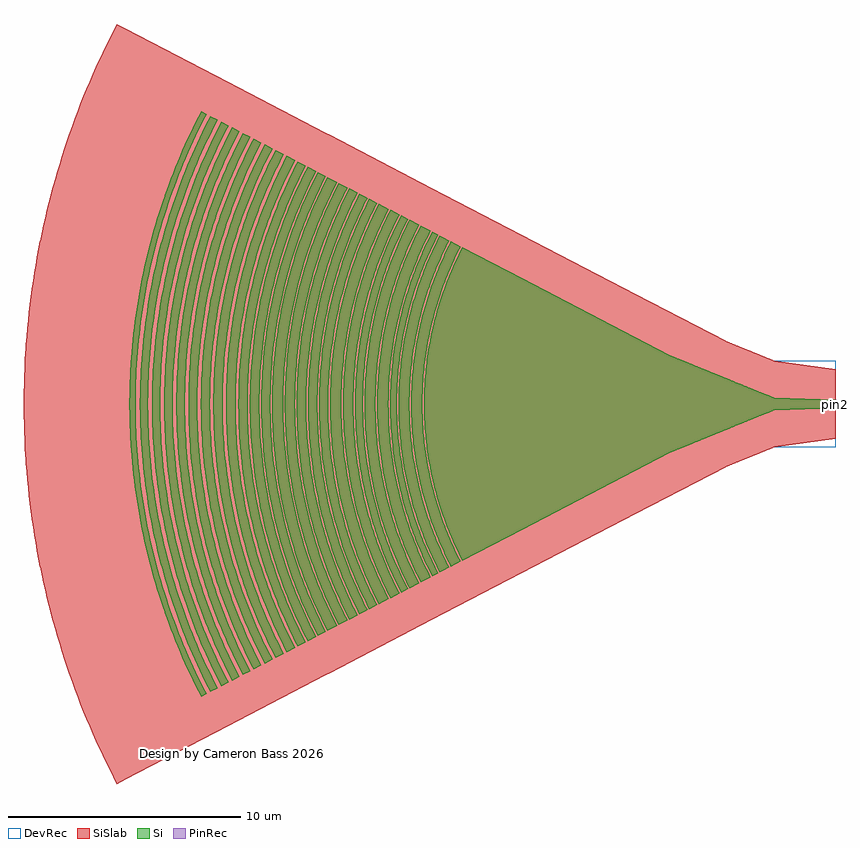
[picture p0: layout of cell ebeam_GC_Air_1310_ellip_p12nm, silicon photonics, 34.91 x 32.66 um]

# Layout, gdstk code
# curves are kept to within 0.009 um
import gdstk
lib = gdstk.Library(unit=1e-6, precision=1e-09)
def P(c, l, *ps):  # polygons
    for p in ps: c.add(gdstk.Polygon(p, *l))
Si = (1, 0)
PinRec = (1, 10)
SiSlab = (2, 0)
DevRec = (68, 0)

ebeam_gc_air_1310_ellip_ = lib.new_cell('ebeam_GC_Air_1310_ellip_p12nm')
P(ebeam_gc_air_1310_ellip_, Si, [(-16.053,-6.732),(-16.421,-5.974),(-16.795,-5.057),(-17.107,-4.117),(-17.29,-3.434),(-17.466,-2.603),(-17.593,-1.764),(-17.671,-0.919),(-17.699,-0.071),(-17.671,0.919),(-17.593,1.764),(-17.466,2.604),(-17.29,3.434),(-17.107,4.117),(-16.795,5.057),(-16.421,5.974),(-16.053,6.732),(-7.073,2.062),(-3.18,0.475),(-2.872,0.361),(-2.674,0.268),(0,0.175),(0,-0.175),(-2.673,-0.268),(-2.841,-0.348),(-3.181,-0.475),(-7.118,-2.081)],
  [(-16.545,-6.987),(-16.924,-6.204),(-17.261,-5.389),(-17.55,-4.557),(-17.791,-3.709),(-17.982,-2.848),(-18.122,-1.978),(-18.221,-0.955),(-18.251,-0.073),(-18.23,0.808),(-18.14,1.832),(-18.009,2.704),(-17.826,3.566),(-17.594,4.416),(-17.261,5.389),(-16.924,6.204),(-16.545,6.988),(-16.121,6.767),(-16.49,6.005),(-16.817,5.217),(-17.097,4.411),(-17.329,3.59),(-17.54,2.618),(-17.668,1.773),(-17.755,0.782),(-17.775,0.071),(-17.755,-0.782),(-17.668,-1.773),(-17.54,-2.617),(-17.363,-3.452),(-17.139,-4.276),(-16.867,-5.084),(-16.49,-6.005),(-16.121,-6.767)],
  [(-17.026,-7.238),(-17.418,-6.428),(-17.767,-5.584),(-18.066,-4.722),(-18.316,-3.843),(-18.513,-2.951),(-18.658,-2.05),(-18.751,-1.141),(-18.778,-0.685),(-18.792,-0.076),(-18.77,0.837),(-18.695,1.747),(-18.638,2.201),(-18.541,2.801),(-18.352,3.695),(-18.198,4.284),(-18.066,4.722),(-17.767,5.584),(-17.418,6.428),(-17.026,7.238),(-16.612,7.023),(-16.87,6.504),(-17.053,6.1),(-17.384,5.279),(-17.667,4.439),(-17.9,3.584),(-18.083,2.718),(-18.216,1.841),(-18.297,0.959),(-18.327,0.074),(-18.306,-0.811),(-18.216,-1.841),(-18.083,-2.718),(-17.9,-3.584),(-17.667,-4.439),(-17.384,-5.279),(-17.053,-6.1),(-16.87,-6.504),(-16.612,-7.023)],
  [(-17.346,-7.405),(-17.747,-6.576),(-18.104,-5.713),(-18.41,-4.831),(-18.666,-3.932),(-18.868,-3.019),(-18.949,-2.559),(-19.036,-1.942),(-19.122,-1.012),(-19.153,-0.078),(-19.131,0.857),(-19.036,1.942),(-18.896,2.866),(-18.703,3.781),(-18.502,4.532),(-18.159,5.567),(-17.932,6.148),(-17.747,6.577),(-17.346,7.405),(-17.094,7.273),(-17.549,6.319),(-17.783,5.755),(-17.944,5.325),(-18.185,4.599),(-18.311,4.158),(-18.558,3.116),(-18.691,2.362),(-18.787,1.604),(-18.846,0.841),(-18.868,0.077),(-18.853,-0.689),(-18.802,-1.451),(-18.691,-2.362),(-18.558,-3.116),(-18.461,-3.564),(-18.311,-4.157),(-18.185,-4.599),(-17.995,-5.18),(-17.783,-5.754),(-17.549,-6.319),(-17.094,-7.273)],
  [(-17.842,-7.663),(-18.052,-7.244),(-18.321,-6.659),(-18.682,-5.762),(-18.99,-4.846),(-19.245,-3.913),(-19.445,-2.966),(-19.589,-2.01),(-19.678,-1.047),(-19.711,-0.08),(-19.687,0.887),(-19.608,1.85),(-19.473,2.808),(-19.352,3.441),(-19.245,3.913),(-18.99,4.846),(-18.682,5.762),(-18.447,6.363),(-18.256,6.807),(-17.842,7.663),(-17.414,7.44),(-17.816,6.608),(-18.175,5.741),(-18.484,4.853),(-18.739,3.951),(-18.971,2.88),(-19.111,1.951),(-19.175,1.329),(-19.207,0.86),(-19.229,0.078),(-19.207,-0.86),(-19.175,-1.329),(-19.111,-1.951),(-18.971,-2.88),(-18.776,-3.798),(-18.53,-4.705),(-18.23,-5.594),(-17.88,-6.465),(-17.414,-7.44)],
  [(-18.322,-7.913),(-18.75,-7.028),(-18.947,-6.57),(-19.189,-5.95),(-19.508,-5.004),(-19.771,-4.04),(-19.977,-3.063),(-20.127,-2.075),(-20.218,-1.082),(-20.252,-0.083),(-20.228,0.916),(-20.146,1.91),(-20.034,2.735),(-19.947,3.227),(-19.81,3.879),(-19.556,4.844),(-19.408,5.321),(-19.189,5.95),(-18.947,6.57),(-18.75,7.029),(-18.322,7.913),(-17.911,7.699),(-18.327,6.838),(-18.519,6.392),(-18.755,5.789),(-19.065,4.868),(-19.32,3.931),(-19.521,2.98),(-19.666,2.02),(-19.756,1.052),(-19.789,0.081),(-19.765,-0.89),(-19.685,-1.859),(-19.601,-2.501),(-19.521,-2.98),(-19.32,-3.93),(-19.065,-4.868),(-18.755,-5.789),(-18.58,-6.242),(-18.327,-6.838),(-17.911,-7.699)],
  [(-18.684,-8.101),(-19.122,-7.195),(-19.513,-6.25),(-19.848,-5.285),(-20.041,-4.631),(-20.168,-4.136),(-20.379,-3.136),(-20.532,-2.124),(-20.626,-1.107),(-20.66,-0.085),(-20.636,0.937),(-20.552,1.956),(-20.409,2.968),(-20.281,3.637),(-20.168,4.136),(-20.041,4.631),(-19.848,5.285),(-19.513,6.25),(-19.122,7.195),(-18.684,8.101),(-18.39,7.949),(-18.68,7.364),(-18.954,6.753),(-19.143,6.29),(-19.375,5.662),(-19.533,5.185),(-19.72,4.544),(-19.884,3.895),(-19.99,3.406),(-20.135,2.582),(-20.24,1.753),(-20.305,0.919),(-20.329,0.084),(-20.305,-0.919),(-20.24,-1.753),(-20.135,-2.582),(-19.99,-3.406),(-19.884,-3.895),(-19.72,-4.544),(-19.533,-5.185),(-19.375,-5.662),(-19.143,-6.289),(-18.954,-6.753),(-18.68,-7.364),(-18.39,-7.948)],
  [(-19.142,-8.34),(-19.593,-7.408),(-19.868,-6.761),(-20.057,-6.271),(-20.392,-5.273),(-20.67,-4.258),(-20.887,-3.228),(-21.045,-2.187),(-21.141,-1.14),(-21.177,-0.088),(-21.167,0.614),(-21.141,1.14),(-21.045,2.187),(-20.887,3.228),(-20.67,4.258),(-20.392,5.273),(-20.057,6.271),(-19.664,7.248),(-19.371,7.885),(-19.142,8.34),(-18.753,8.137),(-19.193,7.227),(-19.461,6.596),(-19.645,6.118),(-19.973,5.144),(-20.243,4.154),(-20.455,3.15),(-20.609,2.134),(-20.703,1.112),(-20.738,0.086),(-20.713,-0.941),(-20.629,-1.965),(-20.485,-2.981),(-20.391,-3.486),(-20.243,-4.154),(-19.973,-5.144),(-19.645,-6.118),(-19.262,-7.07),(-19.05,-7.538),(-18.753,-8.137)],
  [(-19.641,-8.6),(-20.104,-7.641),(-20.519,-6.638),(-20.874,-5.613),(-21.171,-4.568),(-21.405,-3.508),(-21.578,-2.437),(-21.688,-1.356),(-21.719,-0.815),(-21.737,-0.09),(-21.711,0.995),(-21.621,2.077),(-21.47,3.152),(-21.334,3.862),(-21.214,4.393),(-20.928,5.439),(-20.704,6.128),(-20.519,6.638),(-20.104,7.641),(-19.641,8.6),(-19.211,8.376),(-19.663,7.439),(-20.068,6.463),(-20.248,5.966),(-20.467,5.297),(-20.702,4.447),(-20.93,3.416),(-21.099,2.372),(-21.177,1.672),(-21.218,1.144),(-21.254,0.088),(-21.249,-0.441),(-21.218,-1.144),(-21.121,-2.197),(-20.963,-3.242),(-20.744,-4.276),(-20.467,-5.296),(-20.248,-5.966),(-20.068,-6.463),(-19.663,-7.439),(-19.211,-8.376)],
  [(-20.056,-8.816),(-20.532,-7.831),(-20.957,-6.803),(-21.322,-5.752),(-21.626,-4.681),(-21.866,-3.595),(-22.043,-2.497),(-22.156,-1.39),(-22.188,-0.835),(-22.206,-0.093),(-22.179,1.02),(-22.088,2.128),(-22.018,2.681),(-21.9,3.413),(-21.67,4.502),(-21.482,5.219),(-21.322,5.752),(-20.957,6.803),(-20.532,7.831),(-20.056,8.816),(-19.713,8.637),(-20.178,7.673),(-20.595,6.666),(-20.953,5.636),(-21.249,4.587),(-21.485,3.523),(-21.579,2.986),(-21.681,2.266),(-21.781,1.18),(-21.818,0.091),(-21.808,-0.635),(-21.739,-1.724),(-21.634,-2.626),(-21.45,-3.701),(-21.334,-4.233),(-21.157,-4.939),(-20.953,-5.635),(-20.721,-6.325),(-20.53,-6.835),(-20.252,-7.506),(-19.948,-8.167),(-19.713,-8.637)],
  [(-20.476,-9.035),(-20.965,-8.024),(-21.401,-6.97),(-21.774,-5.894),(-21.939,-5.347),(-22.086,-4.797),(-22.257,-4.057),(-22.367,-3.497),(-22.537,-2.37),(-22.642,-1.235),(-22.681,-0.095),(-22.653,1.045),(-22.559,2.181),(-22.4,3.31),(-22.296,3.87),(-22.131,4.613),(-21.939,5.347),(-21.774,5.894),(-21.401,6.97),(-20.965,8.024),(-20.476,9.035),(-20.125,8.852),(-20.603,7.862),(-21.03,6.831),(-21.396,5.775),(-21.605,5.061),(-21.745,4.519),(-21.976,3.427),(-22.143,2.322),(-22.245,1.209),(-22.283,0.093),(-22.265,-0.837),(-22.202,-1.767),(-22.094,-2.691),(-21.906,-3.793),(-21.788,-4.338),(-21.605,-5.061),(-21.451,-5.598),(-21.221,-6.305),(-20.963,-7.004),(-20.752,-7.521),(-20.447,-8.201),(-20.125,-8.852)],
  [(-20.911,-9.261),(-21.413,-8.222),(-21.859,-7.143),(-22.242,-6.04),(-22.411,-5.48),(-22.562,-4.916),(-22.696,-4.347),(-22.85,-3.583),(-23.025,-2.428),(-23.132,-1.265),(-23.171,-0.097),(-23.166,0.487),(-23.132,1.265),(-23.025,2.428),(-22.85,3.584),(-22.608,4.727),(-22.357,5.667),(-22.122,6.41),(-21.928,6.961),(-21.492,8.045),(-21.166,8.752),(-20.911,9.261),(-20.549,9.072),(-20.881,8.402),(-21.117,7.881),(-21.545,6.819),(-21.91,5.734),(-22.211,4.63),(-22.448,3.511),(-22.619,2.379),(-22.724,1.239),(-22.763,0.096),(-22.744,-0.858),(-22.68,-1.81),(-22.569,-2.757),(-22.376,-3.886),(-22.211,-4.63),(-22.068,-5.185),(-21.91,-5.735),(-21.674,-6.46),(-21.478,-6.998),(-21.193,-7.705),(-20.881,-8.402),(-20.549,-9.072)],
  [(-21.362,-9.496),(-21.71,-8.795),(-21.957,-8.249),(-22.404,-7.138),(-22.786,-6.003),(-22.953,-5.427),(-23.102,-4.847),(-23.35,-3.675),(-23.529,-2.491),(-23.639,-1.297),(-23.679,-0.1),(-23.674,0.499),(-23.639,1.298),(-23.529,2.49),(-23.35,3.675),(-23.102,4.847),(-22.953,5.427),(-22.786,6.002),(-22.404,7.138),(-22.189,7.697),(-21.957,8.25),(-21.71,8.795),(-21.362,9.496),(-20.979,9.296),(-21.483,8.254),(-21.932,7.171),(-22.317,6.062),(-22.484,5.501),(-22.682,4.744),(-22.925,3.597),(-23.101,2.437),(-23.208,1.27),(-23.237,0.685),(-23.248,0.098),(-23.243,-0.489),(-23.22,-1.074),(-23.163,-1.855),(-23.101,-2.437),(-22.925,-3.597),(-22.682,-4.744),(-22.484,-5.501),(-22.317,-6.062),(-21.932,-7.17),(-21.483,-8.254),(-20.979,-9.296)],
  [(-21.85,-9.749),(-22.117,-9.217),(-22.376,-8.659),(-22.62,-8.095),(-22.846,-7.522),(-23.25,-6.361),(-23.427,-5.771),(-23.586,-5.177),(-23.771,-4.377),(-23.889,-3.774),(-23.99,-3.167),(-24.073,-2.557),(-24.186,-1.332),(-24.216,-0.717),(-24.227,-0.102),(-24.198,1.128),(-24.097,2.354),(-23.99,3.167),(-23.889,3.774),(-23.771,4.377),(-23.635,4.978),(-23.37,5.968),(-23.123,6.751),(-22.918,7.331),(-22.62,8.095),(-22.376,8.66),(-21.85,9.75),(-21.43,9.531),(-21.946,8.463),(-22.406,7.353),(-22.801,6.216),(-23.128,5.06),(-23.267,4.474),(-23.388,3.886),(-23.58,2.698),(-23.702,1.502),(-23.737,0.901),(-23.756,0.1),(-23.727,-1.102),(-23.669,-1.902),(-23.605,-2.5),(-23.425,-3.689),(-23.176,-4.865),(-22.86,-6.026),(-22.477,-7.165),(-22.027,-8.28),(-21.779,-8.828),(-21.43,-9.531)],
  [(-22.264,-9.965),(-22.537,-9.42),(-22.802,-8.85),(-23.051,-8.273),(-23.283,-7.688),(-23.695,-6.501),(-23.876,-5.898),(-24.089,-5.088),(-24.348,-3.857),(-24.451,-3.237),(-24.536,-2.613),(-24.603,-1.988),(-24.652,-1.362),(-24.694,-0.105),(-24.664,1.153),(-24.561,2.405),(-24.482,3.03),(-24.385,3.651),(-24.27,4.269),(-24.089,5.088),(-23.876,5.898),(-23.695,6.501),(-23.283,7.688),(-23.051,8.274),(-22.802,8.851),(-22.264,9.965),(-21.918,9.785),(-22.274,9.065),(-22.529,8.503),(-22.844,7.743),(-23.061,7.164),(-23.261,6.58),(-23.499,5.793),(-23.659,5.196),(-23.845,4.393),(-23.964,3.788),(-24.065,3.178),(-24.194,2.158),(-24.274,1.131),(-24.304,0.103),(-24.284,-0.926),(-24.214,-1.953),(-24.095,-2.975),(-23.886,-4.192),(-23.756,-4.795),(-23.554,-5.594),(-23.323,-6.383),(-23.061,-7.164),(-22.844,-7.742),(-22.529,-8.502),(-22.274,-9.065),(-21.918,-9.785)],
  [(-22.698,-10.191),(-22.979,-9.632),(-23.25,-9.049),(-23.505,-8.459),(-23.742,-7.861),(-23.961,-7.257),(-24.163,-6.647),(-24.406,-5.824),(-24.566,-5.202),(-24.708,-4.574),(-24.831,-3.944),(-24.937,-3.31),(-25.024,-2.673),(-25.092,-2.033),(-25.142,-1.392),(-25.173,-0.75),(-25.185,-0.107),(-25.179,0.536),(-25.154,1.179),(-25.111,1.82),(-25.049,2.459),(-24.968,3.098),(-24.869,3.733),(-24.708,4.574),(-24.566,5.202),(-24.289,6.237),(-24.098,6.851),(-23.817,7.661),(-23.586,8.26),(-23.337,8.854),(-22.979,9.632),(-22.698,10.191),(-22.335,10.002),(-22.7,9.265),(-22.961,8.69),(-23.283,7.913),(-23.504,7.322),(-23.895,6.123),(-24.116,5.31),(-24.306,4.49),(-24.498,3.457),(-24.641,2.415),(-24.732,1.366),(-24.763,0.737),(-24.775,0.105),(-24.755,-0.946),(-24.718,-1.576),(-24.663,-2.205),(-24.531,-3.248),(-24.348,-4.285),(-24.215,-4.901),(-24.009,-5.717),(-23.773,-6.524),(-23.504,-7.322),(-23.283,-7.913),(-22.961,-8.69),(-22.7,-9.265),(-22.335,-10.002)],
  [(-23.13,-10.416),(-23.42,-9.839),(-23.697,-9.244),(-23.957,-8.641),(-24.2,-8.03),(-24.424,-7.413),(-24.631,-6.79),(-24.82,-6.16),(-24.99,-5.526),(-25.141,-4.888),(-25.274,-4.244),(-25.388,-3.597),(-25.483,-2.948),(-25.559,-2.295),(-25.631,-1.422),(-25.663,-0.766),(-25.675,-0.109),(-25.669,0.547),(-25.644,1.204),(-25.599,1.859),(-25.536,2.512),(-25.453,3.165),(-25.314,4.029),(-25.187,4.673),(-25.042,5.314),(-24.759,6.371),(-24.564,6.999),(-24.277,7.826),(-24.04,8.439),(-23.786,9.044),(-23.515,9.642),(-23.13,10.416),(-22.783,10.236),(-23.158,9.477),(-23.511,8.692),(-23.755,8.095),(-23.981,7.49),(-24.256,6.674),(-24.44,6.056),(-24.659,5.223),(-24.802,4.593),(-24.999,3.536),(-25.092,2.897),(-25.167,2.256),(-25.25,1.183),(-25.282,0.108),(-25.261,-0.968),(-25.188,-2.042),(-25.119,-2.684),(-25.032,-3.323),(-24.845,-4.383),(-24.659,-5.223),(-24.498,-5.848),(-24.32,-6.469),(-24.053,-7.287),(-23.755,-8.095),(-23.511,-8.691),(-23.158,-9.477),(-22.783,-10.235)],
  [(-23.599,-10.661),(-23.899,-10.064),(-24.183,-9.456),(-24.449,-8.839),(-24.697,-8.214),(-24.927,-7.583),(-25.138,-6.946),(-25.332,-6.301),(-25.506,-5.653),(-25.661,-4.999),(-25.837,-4.121),(-25.948,-3.458),(-26.039,-2.792),(-26.11,-2.124),(-26.162,-1.455),(-26.195,-0.783),(-26.208,-0.112),(-26.201,0.56),(-26.175,1.232),(-26.13,1.902),(-26.065,2.57),(-25.98,3.237),(-25.876,3.901),(-25.708,4.78),(-25.559,5.436),(-25.27,6.517),(-25.07,7.159),(-24.776,8.005),(-24.534,8.631),(-24.274,9.251),(-23.996,9.863),(-23.599,10.661),(-23.241,10.474),(-23.533,9.892),(-23.901,9.092),(-24.157,8.483),(-24.47,7.661),(-24.684,7.036),(-24.88,6.406),(-25.111,5.556),(-25.31,4.698),(-25.512,3.616),(-25.661,2.526),(-25.724,1.869),(-25.769,1.21),(-25.801,0.11),(-25.78,-0.99),(-25.742,-1.649),(-25.684,-2.307),(-25.546,-3.399),(-25.354,-4.483),(-25.215,-5.128),(-24.999,-5.982),(-24.817,-6.615),(-24.544,-7.453),(-24.318,-8.074),(-23.989,-8.89),(-23.628,-9.693),(-23.241,-10.474)],
  [(-24.082,-10.912),(-24.392,-10.296),(-24.682,-9.673),(-24.955,-9.042),(-25.209,-8.403),(-25.444,-7.758),(-25.728,-6.887),(-25.92,-6.226),(-26.091,-5.561),(-26.243,-4.891),(-26.376,-4.216),(-26.489,-3.538),(-26.582,-2.856),(-26.655,-2.173),(-26.708,-1.488),(-26.742,-0.801),(-26.755,-0.114),(-26.748,0.573),(-26.722,1.26),(-26.675,1.945),(-26.582,2.857),(-26.489,3.538),(-26.376,4.216),(-26.243,4.89),(-26.091,5.561),(-25.92,6.226),(-25.66,7.106),(-25.444,7.758),(-25.209,8.403),(-24.955,9.043),(-24.682,9.673),(-24.392,10.296),(-24.082,10.912),(-23.729,10.728),(-24.031,10.126),(-24.408,9.307),(-24.754,8.475),(-24.991,7.842),(-25.21,7.202),(-25.411,6.557),(-25.647,5.687),(-25.851,4.809),(-26.058,3.702),(-26.211,2.586),(-26.309,1.463),(-26.342,0.789),(-26.355,0.113),(-26.333,-1.014),(-26.235,-2.362),(-26.093,-3.479),(-25.897,-4.589),(-25.754,-5.249),(-25.533,-6.123),(-25.279,-6.987),(-24.991,-7.842),(-24.754,-8.475),(-24.408,-9.307),(-24.031,-10.126),(-23.729,-10.728)],
  [(-24.552,-11.157),(-24.871,-10.524),(-25.168,-9.887),(-25.447,-9.242),(-25.706,-8.589),(-25.947,-7.929),(-26.168,-7.263),(-26.433,-6.364),(-26.609,-5.684),(-26.764,-4.999),(-26.9,-4.309),(-27.015,-3.616),(-27.11,-2.92),(-27.185,-2.221),(-27.24,-1.521),(-27.274,-0.819),(-27.287,-0.117),(-27.274,0.819),(-27.24,1.522),(-27.185,2.222),(-27.11,2.92),(-27.015,3.616),(-26.9,4.309),(-26.764,4.998),(-26.609,5.684),(-26.433,6.364),(-26.168,7.263),(-25.947,7.929),(-25.706,8.589),(-25.447,9.243),(-25.168,9.887),(-24.871,10.524),(-24.552,11.157),(-24.21,10.979),(-24.622,10.15),(-24.909,9.52),(-25.262,8.669),(-25.505,8.021),(-25.8,7.147),(-25.997,6.486),(-26.177,5.817),(-26.385,4.919),(-26.597,3.787),(-26.753,2.645),(-26.854,1.497),(-26.887,0.807),(-26.9,0.115),(-26.894,-0.576),(-26.867,-1.267),(-26.777,-2.416),(-26.697,-3.102),(-26.597,-3.787),(-26.385,-4.92),(-26.177,-5.817),(-25.997,-6.485),(-25.8,-7.147),(-25.505,-8.021),(-25.262,-8.669),(-24.909,-9.52),(-24.622,-10.15),(-24.21,-10.979)],
  [(-25.025,-11.403),(-25.352,-10.754),(-25.656,-10.104),(-25.94,-9.445),(-26.206,-8.777),(-26.451,-8.103),(-26.677,-7.422),(-26.885,-6.733),(-27.071,-6.04),(-27.236,-5.342),(-27.382,-4.638),(-27.506,-3.932),(-27.611,-3.222),(-27.694,-2.508),(-27.757,-1.793),(-27.808,-0.837),(-27.822,-0.12),(-27.815,0.598),(-27.787,1.316),(-27.738,2.032),(-27.669,2.746),(-27.578,3.459),(-27.426,4.403),(-27.287,5.108),(-27.128,5.808),(-26.949,6.503),(-26.748,7.194),(-26.529,7.877),(-26.206,8.777),(-25.94,9.445),(-25.656,10.104),(-25.352,10.754),(-25.025,11.403),(-24.69,11.229),(-25.011,10.591),(-25.406,9.734),(-25.767,8.864),(-26.016,8.202),(-26.245,7.533),(-26.455,6.858),(-26.703,5.948),(-26.916,5.03),(-27.132,3.872),(-27.292,2.705),(-27.361,2.001),(-27.409,1.295),(-27.443,0.118),(-27.436,-0.589),(-27.409,-1.295),(-27.317,-2.47),(-27.169,-3.639),(-27.053,-4.337),(-26.916,-5.031),(-26.703,-5.948),(-26.455,-6.858),(-26.245,-7.533),(-26.016,-8.202),(-25.68,-9.083),(-25.406,-9.734),(-25.011,-10.591),(-24.69,-11.228)],
  [(-25.487,-11.643),(-25.821,-10.98),(-26.131,-10.316),(-26.421,-9.643),(-26.692,-8.961),(-26.943,-8.273),(-27.174,-7.578),(-27.386,-6.875),(-27.576,-6.167),(-27.797,-5.215),(-27.938,-4.496),(-28.059,-3.773),(-28.158,-3.046),(-28.236,-2.318),(-28.293,-1.587),(-28.328,-0.855),(-28.343,-0.122),(-28.328,0.855),(-28.293,1.587),(-28.236,2.318),(-28.158,3.046),(-28.059,3.773),(-27.938,4.496),(-27.797,5.215),(-27.634,5.93),(-27.451,6.64),(-27.247,7.344),(-27.023,8.042),(-26.692,8.962),(-26.421,9.643),(-26.131,10.316),(-25.821,10.98),(-25.487,11.643),(-25.164,11.475),(-25.597,10.605),(-25.896,9.947),(-26.266,9.058),(-26.52,8.381),(-26.828,7.468),(-27.034,6.777),(-27.28,5.845),(-27.44,5.14),(-27.661,3.957),(-27.766,3.241),(-27.85,2.525),(-27.943,1.324),(-27.978,0.121),(-27.955,-1.083),(-27.913,-1.804),(-27.85,-2.524),(-27.766,-3.241),(-27.661,-3.956),(-27.44,-5.14),(-27.222,-6.078),(-27.034,-6.776),(-26.828,-7.468),(-26.52,-8.381),(-26.266,-9.058),(-25.896,-9.947),(-25.597,-10.605),(-25.164,-11.475)],
  [(-25.952,-11.885),(-26.293,-11.208),(-26.61,-10.53),(-26.906,-9.844),(-27.183,-9.148),(-27.439,-8.445),(-27.675,-7.735),(-27.891,-7.018),(-28.085,-6.295),(-28.31,-5.324),(-28.455,-4.589),(-28.577,-3.851),(-28.679,-3.109),(-28.759,-2.366),(-28.817,-1.62),(-28.853,-0.872),(-28.867,-0.125),(-28.853,0.872),(-28.817,1.62),(-28.759,2.366),(-28.679,3.11),(-28.577,3.852),(-28.455,4.589),(-28.31,5.323),(-28.144,6.053),(-27.958,6.778),(-27.749,7.496),(-27.52,8.209),(-27.271,8.914),(-27.001,9.612),(-26.61,10.53),(-26.293,11.208),(-25.952,11.886),(-25.634,11.72),(-25.97,11.053),(-26.382,10.159),(-26.759,9.25),(-27.019,8.559),(-27.258,7.861),(-27.545,6.921),(-27.736,6.208),(-27.959,5.249),(-28.184,4.041),(-28.351,2.823),(-28.423,2.088),(-28.473,1.352),(-28.509,0.123),(-28.501,-0.615),(-28.473,-1.352),(-28.377,-2.578),(-28.291,-3.31),(-28.184,-4.04),(-27.959,-5.249),(-27.795,-5.969),(-27.545,-6.92),(-27.258,-7.861),(-27.019,-8.559),(-26.668,-9.479),(-26.382,-10.158),(-25.97,-11.052),(-25.634,-11.72)],
  [(-26.411,-12.124),(-26.759,-11.433),(-27.082,-10.742),(-27.384,-10.041),(-27.666,-9.331),(-27.928,-8.614),(-28.168,-7.89),(-28.388,-7.158),(-28.586,-6.422),(-28.816,-5.431),(-28.964,-4.681),(-29.089,-3.929),(-29.192,-3.173),(-29.274,-2.413),(-29.333,-1.653),(-29.37,-0.89),(-29.385,-0.127),(-29.377,0.636),(-29.348,1.399),(-29.296,2.16),(-29.222,2.92),(-29.126,3.677),(-28.964,4.681),(-28.816,5.43),(-28.647,6.175),(-28.457,6.914),(-28.244,7.648),(-28.01,8.374),(-27.756,9.093),(-27.481,9.806),(-27.082,10.742),(-26.759,11.433),(-26.411,12.124),(-26.103,11.964),(-26.446,11.283),(-26.765,10.6),(-27.064,9.908),(-27.431,8.974),(-27.682,8.263),(-27.985,7.306),(-28.249,6.337),(-28.423,5.604),(-28.576,4.867),(-28.707,4.125),(-28.877,2.882),(-28.987,1.631),(-29.023,0.879),(-29.038,0.126),(-29.03,-0.628),(-29.001,-1.38),(-28.904,-2.632),(-28.816,-3.379),(-28.707,-4.125),(-28.476,-5.359),(-28.249,-6.337),(-28.054,-7.064),(-27.838,-7.785),(-27.517,-8.737),(-27.252,-9.443),(-26.867,-10.37),(-26.555,-11.056),(-26.103,-11.964)],
  [(-26.881,-12.369),(-27.228,-11.678),(-27.558,-10.972),(-27.867,-10.257),(-28.246,-9.288),(-28.505,-8.554),(-28.743,-7.811),(-28.96,-7.062),(-29.155,-6.307),(-29.327,-5.546),(-29.477,-4.782),(-29.605,-4.013),(-29.711,-3.24),(-29.793,-2.465),(-29.854,-1.688),(-29.892,-0.909),(-29.907,-0.13),(-29.892,0.909),(-29.854,1.688),(-29.793,2.465),(-29.711,3.24),(-29.605,4.013),(-29.477,4.782),(-29.327,5.547),(-29.155,6.307),(-28.96,7.062),(-28.743,7.811),(-28.505,8.554),(-28.246,9.289),(-27.965,10.015),(-27.663,10.735),(-27.341,11.444),(-26.881,12.37),(-26.57,12.208),(-27.031,11.281),(-27.35,10.581),(-27.743,9.635),(-28.013,8.915),(-28.262,8.188),(-28.489,7.454),(-28.696,6.714),(-28.937,5.718),(-29.185,4.461),(-29.304,3.702),(-29.401,2.94),(-29.475,2.175),(-29.527,1.408),(-29.565,0.128),(-29.54,-1.152),(-29.495,-1.919),(-29.428,-2.685),(-29.267,-3.955),(-29.14,-4.714),(-28.992,-5.467),(-28.76,-6.465),(-28.56,-7.208),(-28.341,-7.944),(-28.013,-8.915),(-27.743,-9.635),(-27.35,-10.581),(-27.031,-11.281),(-26.57,-12.207)],
  [(-27.279,-12.577),(-27.64,-11.858),(-27.975,-11.141),(-28.288,-10.415),(-28.58,-9.678),(-28.837,-8.976),(-29.1,-8.184),(-29.328,-7.425),(-29.533,-6.661),(-29.715,-5.891),(-29.875,-5.115),(-30.013,-4.335),(-30.128,-3.553),(-30.245,-2.503),(-30.301,-1.795),(-30.345,-0.923),(-30.36,-0.132),(-30.352,0.659),(-30.322,1.451),(-30.268,2.241),(-30.161,3.29),(-30.054,4.075),(-29.924,4.856),(-29.771,5.632),(-29.596,6.405),(-29.399,7.171),(-29.178,7.931),(-28.937,8.686),(-28.673,9.432),(-28.288,10.415),(-27.975,11.142),(-27.64,11.859),(-27.279,12.577),(-27.049,12.457),(-27.511,11.525),(-27.836,10.81),(-28.237,9.844),(-28.513,9.108),(-28.767,8.365),(-29,7.616),(-29.21,6.859),(-29.456,5.842),(-29.615,5.073),(-29.751,4.3),(-29.928,3.004),(-30.043,1.7),(-30.081,0.916),(-30.096,0.131),(-30.071,-1.177),(-30.025,-1.961),(-29.956,-2.743),(-29.865,-3.522),(-29.751,-4.3),(-29.615,-5.073),(-29.456,-5.841),(-29.275,-6.606),(-29.072,-7.364),(-28.847,-8.116),(-28.513,-9.108),(-28.237,-9.844),(-27.836,-10.81),(-27.511,-11.525),(-27.049,-12.457)])
P(ebeam_gc_air_1310_ellip_, SiSlab, [(-30.904,-16.329),(-31.366,-15.41),(-31.801,-14.477),(-32.208,-13.533),(-32.588,-12.577),(-32.94,-11.61),(-33.264,-10.634),(-33.559,-9.648),(-33.825,-8.655),(-34.062,-7.654),(-34.27,-6.647),(-34.449,-5.634),(-34.598,-4.616),(-34.717,-3.594),(-34.807,-2.569),(-34.867,-1.543),(-34.9,-0.171),(-34.89,0.857),(-34.85,1.885),(-34.781,2.912),(-34.681,3.935),(-34.552,4.956),(-34.393,5.972),(-34.135,7.319),(-33.907,8.322),(-33.651,9.318),(-33.365,10.307),(-33.051,11.286),(-32.709,12.256),(-32.338,13.216),(-31.94,14.164),(-31.366,15.41),(-30.904,16.329),(-4.744,2.708),(-2.65,1.855),(0,1.5),(0,-1.5),(-2.65,-1.855),(-4.728,-2.7)])
P(ebeam_gc_air_1310_ellip_, DevRec, [(-30.904,-16.329),(-31.366,-15.41),(-31.801,-14.477),(-32.208,-13.533),(-32.588,-12.577),(-32.94,-11.61),(-33.264,-10.634),(-33.559,-9.648),(-33.825,-8.655),(-34.062,-7.654),(-34.27,-6.647),(-34.449,-5.634),(-34.598,-4.616),(-34.717,-3.594),(-34.807,-2.569),(-34.867,-1.543),(-34.9,-0.171),(-34.89,0.857),(-34.85,1.885),(-34.781,2.912),(-34.681,3.935),(-34.552,4.956),(-34.393,5.972),(-34.135,7.319),(-33.907,8.322),(-33.651,9.318),(-33.365,10.307),(-33.051,11.286),(-32.709,12.256),(-32.338,13.216),(-31.94,14.164),(-31.366,15.41),(-30.904,16.329),(-4.744,2.708),(-2.65,1.855),(0,1.855),(0,-1.855),(-2.65,-1.855),(-4.728,-2.7)])
ebeam_gc_air_1310_ellip_.add(gdstk.FlexPath([(-0.01,0),(0.01,0)], 0.35, ends="flush", simple_path=True, layer=1, datatype=10))  # PinRec
ebeam_gc_air_1310_ellip_.add(gdstk.Label('pin2', (0,0), layer=1, texttype=10))
ebeam_gc_air_1310_ellip_.add(gdstk.Label('Design by Cameron Bass 2026', (-25.94,-15.02), layer=10, texttype=0))

lib.write_gds('ebeam_GC_Air_1310_ellip_p12nm.gds')
